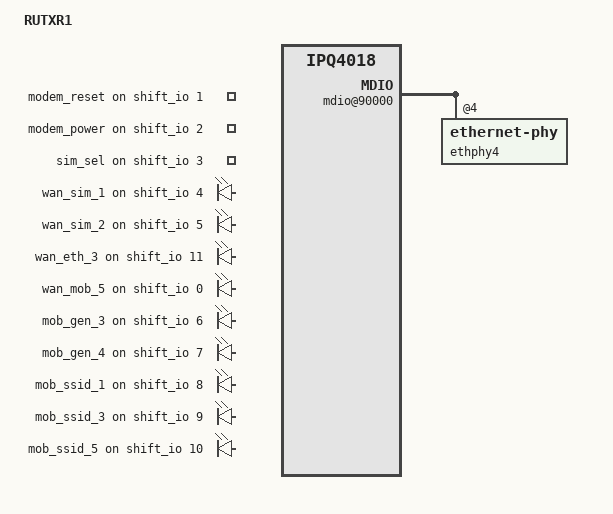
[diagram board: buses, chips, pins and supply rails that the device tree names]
#include "qcom-ipq4018-rutx-shiftreg.dtsi"
#include "qcom-ipq4018-rutx-i2c.dtsi" // SFP

/ {
	model = "RUTXR1";

	soc {
		mdio@90000 {
			ethphy4: ethernet-phy@4 {
				qcom,fiber-enable;
			};
		};

		gpio-export {
			compatible = "gpio-export";
			#size-cells = <0>;

			gpio_modem_reset {
				gpio-export,name = "modem_reset";
				gpio-export,output = <0>;
				gpios = <&shift_io 1 GPIO_ACTIVE_HIGH>;
			};

			gpio_modem_power {
				gpio-export,name = "modem_power";
				gpio-export,output = <0>;
				gpios = <&shift_io 2 GPIO_ACTIVE_HIGH>;
			};

			gpio_sim_select {
				gpio-export,name = "sim_sel";
				gpio-export,output = <0>;
				gpios = <&shift_io 3 GPIO_ACTIVE_HIGH>;
			};
		};

		leds {
			compatible = "gpio-leds";

			led_wan_sim1 {
				label = "wan_sim_1";
				gpios = <&shift_io 4 GPIO_ACTIVE_HIGH>;
			};

			led_wan_sim2 {
				label = "wan_sim_2";
				gpios = <&shift_io 5 GPIO_ACTIVE_HIGH>;
			};

			led_wan_eth {
				label = "wan_eth_3";
				gpios = <&shift_io 11 GPIO_ACTIVE_HIGH>;
			};

			led_wan_mob {
				label = "wan_mob_5";
				gpios = <&shift_io 0 GPIO_ACTIVE_HIGH>;
			};

			led_gen_3 {
				label = "mob_gen_3";
				gpios = <&shift_io 6 GPIO_ACTIVE_HIGH>;
			};

			led_gen_4 {
				label = "mob_gen_4";
				gpios = <&shift_io 7 GPIO_ACTIVE_HIGH>;
			};

			led_ssid_1 {
				label = "mob_ssid_1";
				gpios = <&shift_io 8 GPIO_ACTIVE_HIGH>;
				linux,default-trigger = "timer";
			};

			led_ssid_3 {
				label = "mob_ssid_3";
				gpios = <&shift_io 9 GPIO_ACTIVE_HIGH>;
				linux,default-trigger = "timer";
			};

			led_ssid_5 {
				label = "mob_ssid_5";
				gpios = <&shift_io 10 GPIO_ACTIVE_HIGH>;
				linux,default-trigger = "timer";
			};
		};
	};

	tlt_gpios { // Modify according to wiki page "DTS syntax with Libgpiod changes"
		gpiochip_info {
			hw_6 {
				hwver = <6>;
				gpiochip_count = <2>;

				gpiochip_0 = <100>; // Built-in
				gpiochip_1 = <24>;  // Shift Register
			};
		};

		misc {
			GPIO_101 {
				compatible_versions = <6 99>;
				line_name = "GPIO_MODEM_RESET_1";
			};
			GPIO_102 {
				compatible_versions = <6 99>;
				line_name = "GPIO_MODEM_POWER_1";
			};
			GPIO_103 {
				compatible_versions = <6 99>;
				line_name = "GPIO_SIM_SELECT";
				active_low;
			};
		};
	};

	/delete-node/ ioman;
};

&mnfinfo {
	sim_cfg {
		default = "2112000_2111000";
	};
};
